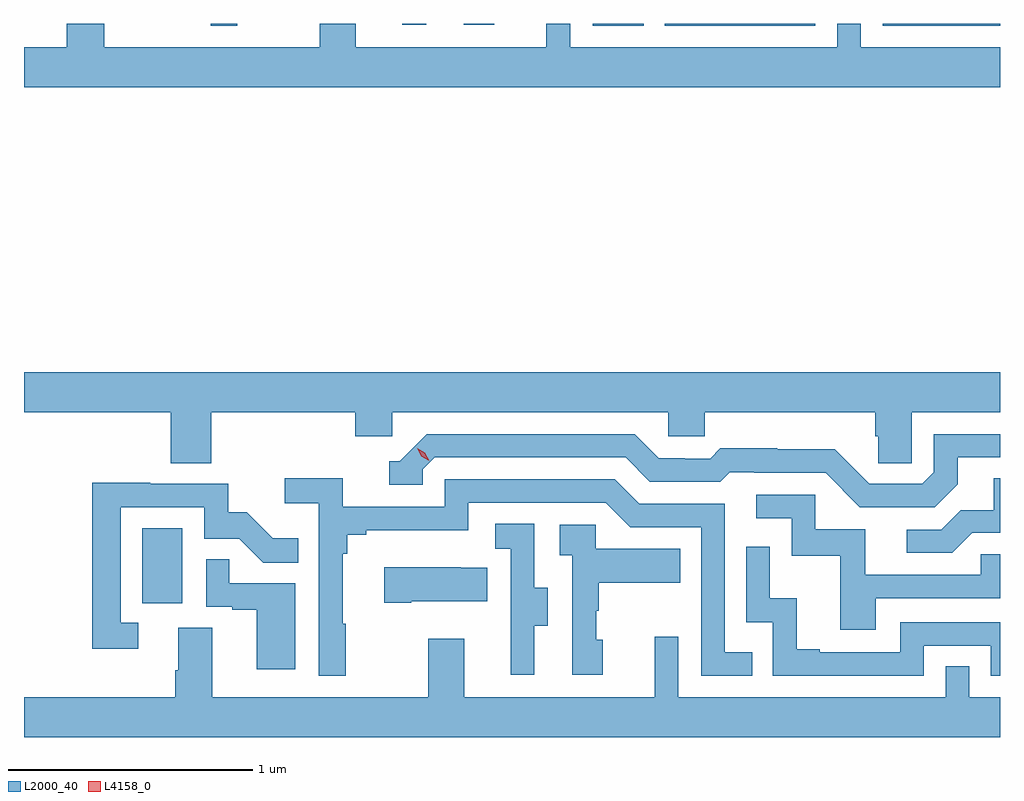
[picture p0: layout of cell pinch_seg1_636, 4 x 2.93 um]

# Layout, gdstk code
import gdstk
lib = gdstk.Library(unit=1e-6, precision=1e-09)
def R(c, l, rs):  # rectangles x0, y0, x1, y1
    for r in rs: c.add(gdstk.rectangle(r[:2], r[2:], *l))
def P(c, l, *ps):  # polygons
    for p in ps: c.add(gdstk.Polygon(p, *l))
L2000_40 = (2000, 40)
L4158_0 = (4158, 0)

pinch_seg1_636 = lib.new_cell('pinch_seg1_636')
R(pinch_seg1_636, L2000_40, [(1127.69,508.326,1127.854,508.633), (1127.97,510.693,1128.079,510.701), (1129.536,510.693,1129.745,510.701), (1129.83,510.693,1130.448,510.701), (1130.724,510.693,1131.205,510.701), (1128.755,510.696,1128.853,510.701), (1129.008,510.696,1129.132,510.701)])
P(pinch_seg1_636, L2000_40, [(1131.205,510.604),(1130.634,510.604),(1130.634,510.701),(1130.538,510.701),(1130.538,510.604),(1129.443,510.604),(1129.443,510.701),(1129.346,510.701),(1129.346,510.604),(1128.565,510.604),(1128.565,510.701),(1128.418,510.701),(1128.418,510.604),(1127.533,510.604),(1127.533,510.701),(1127.381,510.701),(1127.381,510.604),(1127.205,510.604),(1127.205,510.44),(1131.205,510.44)],
  [(1127.972,509.108),(1128.563,509.108),(1128.563,509.01),(1128.714,509.01),(1128.714,509.108),(1129.845,509.108),(1129.845,509.01),(1129.995,509.01),(1129.995,509.108),(1130.693,509.108),(1130.693,509.01),(1130.707,509.01),(1130.707,508.9),(1130.844,508.9),(1130.844,509.108),(1131.205,509.108),(1131.205,509.272),(1127.205,509.272),(1127.205,509.108),(1127.807,509.108),(1127.807,508.9),(1127.972,508.9)],
  [(1131.031,508.813),(1131.031,508.923),(1131.205,508.923),(1131.205,509.019),(1130.934,509.019),(1130.934,508.863),(1130.886,508.815),(1130.67,508.815),(1130.528,508.957),(1130.292,508.957),(1130.292,508.96),(1130.059,508.96),(1130.017,508.917),(1129.914,508.917),(1129.914,508.92),(1129.807,508.92),(1129.708,509.019),(1128.855,509.019),(1128.744,508.908),(1128.701,508.908),(1128.701,508.812),(1128.84,508.812),(1128.84,508.875),(1128.888,508.923),(1129.671,508.923),(1129.77,508.824),(1130.059,508.824),(1130.098,508.863),(1130.197,508.863),(1130.197,508.86),(1130.49,508.86),(1130.631,508.719),(1130.937,508.719)],
  [(1131.091,508.614),(1131.205,508.614),(1131.205,508.838),(1131.179,508.838),(1131.179,508.706),(1131.044,508.706),(1130.964,508.626),(1130.823,508.626),(1130.823,508.533),(1131.01,508.533)],
  [(1128.523,508.241),(1128.511,508.241),(1128.511,508.529),(1128.53,508.529),(1128.53,508.606),(1128.607,508.606),(1128.607,508.625),(1129.026,508.625),(1129.026,508.737),(1129.59,508.737),(1129.689,508.638),(1129.98,508.638),(1129.98,508.029),(1130.189,508.029),(1130.189,508.125),(1130.076,508.125),(1130.076,508.734),(1129.726,508.734),(1129.627,508.833),(1128.93,508.833),(1128.93,508.722),(1128.512,508.722),(1128.512,508.838),(1128.273,508.838),(1128.273,508.736),(1128.414,508.736),(1128.414,508.029),(1128.523,508.029)],
  [(1127.674,508.245),(1127.601,508.245),(1127.601,508.719),(1127.943,508.719),(1127.943,508.59),(1128.087,508.59),(1128.185,508.492),(1128.329,508.492),(1128.329,508.591),(1128.225,508.591),(1128.118,508.698),(1128.042,508.698),(1128.042,508.815),(1127.723,508.815),(1127.723,508.82),(1127.485,508.82),(1127.485,508.14),(1127.674,508.14)],
  [(1130.695,508.347),(1131.205,508.347),(1131.205,508.527),(1131.127,508.527),(1131.127,508.443),(1130.653,508.443),(1130.653,508.629),(1130.448,508.629),(1130.448,508.77),(1130.205,508.77),(1130.205,508.674),(1130.352,508.674),(1130.352,508.521),(1130.551,508.521),(1130.551,508.218),(1130.695,508.218)],
  [(1129.297,508.234),(1129.351,508.234),(1129.351,508.389),(1129.296,508.389),(1129.296,508.652),(1129.137,508.652),(1129.137,508.549),(1129.2,508.549),(1129.2,508.245),(1129.199,508.245),(1129.199,508.032),(1129.297,508.032)],
  [(1129.576,508.176),(1129.551,508.176),(1129.551,508.295),(1129.561,508.295),(1129.561,508.409),(1129.895,508.409),(1129.895,508.549),(1129.548,508.549),(1129.548,508.647),(1129.401,508.647),(1129.401,508.523),(1129.452,508.523),(1129.452,508.032),(1129.576,508.032)],
  [(1130.892,508.152),(1131.168,508.152),(1131.168,508.029),(1131.205,508.029),(1131.205,508.248),(1130.796,508.248),(1130.796,508.125),(1130.467,508.125),(1130.467,508.138),(1130.372,508.138),(1130.372,508.346),(1130.262,508.346),(1130.262,508.558),(1130.166,508.558),(1130.166,508.248),(1130.274,508.248),(1130.274,508.029),(1130.892,508.029)],
  [(1128.316,508.407),(1128.047,508.407),(1128.047,508.505),(1127.952,508.505),(1127.952,508.311),(1128.059,508.311),(1128.059,508.299),(1128.158,508.299),(1128.158,508.056),(1128.316,508.056)],
  [(1128.793,508.334),(1129.103,508.334),(1129.103,508.471),(1128.995,508.471),(1128.995,508.474),(1128.681,508.474),(1128.681,508.327),(1128.793,508.327)],
  [(1131.205,507.94),(1131.078,507.94),(1131.078,508.067),(1130.982,508.067),(1130.982,507.94),(1129.887,507.94),(1129.887,508.189),(1129.79,508.189),(1129.79,507.94),(1129.009,507.94),(1129.009,508.18),(1128.862,508.18),(1128.862,507.94),(1127.977,507.94),(1127.977,508.226),(1127.837,508.226),(1127.837,508.052),(1127.825,508.052),(1127.825,507.94),(1127.205,507.94),(1127.205,507.776),(1131.205,507.776)])
P(pinch_seg1_636, L4158_0, [(1128.865,508.91),(1128.833,508.928),(1128.816,508.961),(1128.816,508.961),(1128.817,508.961),(1128.848,508.942),(1128.865,508.91),(1128.865,508.91)])

lib.write_gds('pinch_seg1_636.gds')
